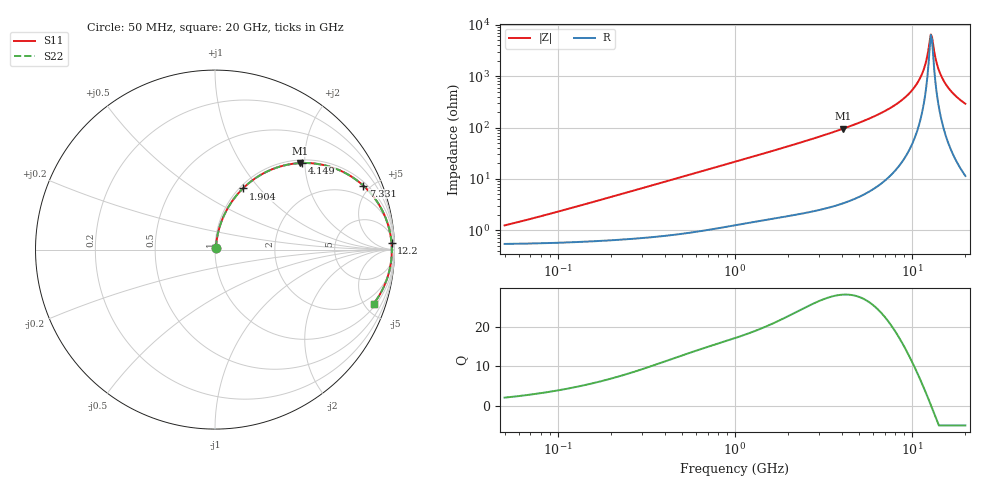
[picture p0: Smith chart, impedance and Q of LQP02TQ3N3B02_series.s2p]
!Murata Part Number: LQP02TQ3N3B02
!These Parameters are Measured in Series Mode Connection
!  o--[Z]--o
!Port1  Port2
!  o-------o
!Freq. Start=50[MHz] Stop=20[GHz], 401[Steps]
# Hz S RI R 50
!Freq.(Hz) S11(Real) S11(Imag) S21(Real) S21(Imag) S12(Real) S12(Imag) S22(Real) S22(Imag)
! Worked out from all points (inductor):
!   401 points, 50 MHz to 20 GHz, reference 50 ohm
!   read as one part in series: L = 3.57 nH near 74.92 MHz
!   highest Q = 28.2 at 4.088 GHz (marker M1), where L = 3.7 nH
!   self-resonance near 12.76 GHz
!   S11 on the Smith chart (normalised r, x): 50 MHz: 1.01, +0.02; 1.904 GHz: 1.04, +0.82; 4.149 GHz: 1.07, +1.94; 7.331 GHz: 1.21, +4.54; 12.2 GHz: 20, +46; 20 GHz: 1.23, -5.80
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5e7  0.00555 0.0112  0.9944 -0.0112  0.9944 -0.0112  0.00555 0.0112
1.364002e8  0.00686 0.0301  0.9931 -0.0301  0.9931 -0.0301  0.00686 0.0301
3.721004e8  0.014 0.0799  0.986 -0.0799  0.986 -0.0799  0.014 0.0799
1e9  0.0554 0.2015  0.9446 -0.2015  0.9446 -0.2015  0.0554 0.2015
1.904239e9  0.1558 0.341  0.8442 -0.341  0.8442 -0.341  0.1558 0.341
2.728004e9  0.2727 0.4264  0.7273 -0.4264  0.7273 -0.4264  0.2727 0.4264
4.087748e9  0.4763 0.482  0.5237 -0.482  0.5237 -0.482  0.4763 0.482
4.149438e9  0.4851 0.4824  0.5149 -0.4824  0.5149 -0.4824  0.4851 0.4824
5.515528e9  0.6608 0.4551  0.3392 -0.4551  0.3392 -0.4551  0.6608 0.4551
7.331367e9  0.8266 0.356  0.1734 -0.356  0.1734 -0.356  0.8266 0.356
7.442007e9  0.8343 0.3489  0.1657 -0.3489  0.1657 -0.3489  0.8343 0.3489
9.041845e9  0.9196 0.2405  0.0804 -0.2405  0.0804 -0.2405  0.9196 0.2405
1.034674e10  0.9596 0.1522  0.0404 -0.1522  0.0404 -0.1522  0.9596 0.1522
1.149051e10  0.9781 0.0787  0.0219 -0.0787  0.0219 -0.0787  0.9781 0.0787
1.220001e10  0.9835 0.0356  0.0165 -0.0356  0.0165 -0.0356  0.9835 0.0356
1.257102e10  0.9848 0.0139  0.0152 -0.0139  0.0152 -0.0139  0.9848 0.0139
1.295331e10  0.9851 -0.00784  0.0149 0.00784  0.0149 0.00784  0.9851 -0.00784
1.314879e10  0.9849 -0.0187  0.0151 0.0187  0.0151 0.0187  0.9849 -0.0187
1.396067e10  0.9816 -0.0621  0.0184 0.0621  0.0184 0.0621  0.9816 -0.0621
1.504638e10  0.972 -0.1157  0.028 0.1157  0.028 0.1157  0.972 -0.1157
1.696185e10  0.9446 -0.1981  0.0554 0.1981  0.0554 0.1981  0.9446 -0.1981
2e10  0.8845 -0.3005  0.1155 0.3005  0.1155 0.3005  0.8845 -0.3005
